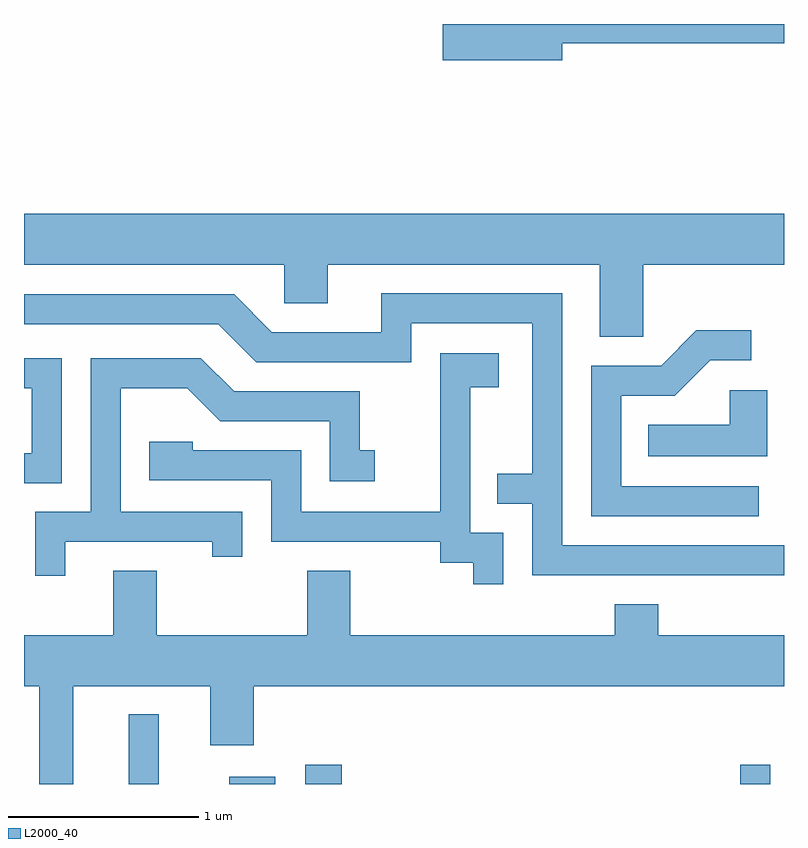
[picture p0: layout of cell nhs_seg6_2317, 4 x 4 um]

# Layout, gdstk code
import gdstk
lib = gdstk.Library(unit=1e-6, precision=1e-09)
def R(c, l, rs):  # rectangles x0, y0, x1, y1
    for r in rs: c.add(gdstk.rectangle(r[:2], r[2:], *l))
def P(c, l, *ps):  # polygons
    for p in ps: c.add(gdstk.Polygon(p, *l))
L2000_40 = (2000, 40)

nhs_seg6_2317 = lib.new_cell('nhs_seg6_2317')
R(nhs_seg6_2317, L2000_40, [(256.161,1576.162,256.319,1576.528), (256.691,1576.162,256.934,1576.199), (257.091,1576.162,257.284,1576.264), (259.381,1576.162,259.539,1576.263)])
P(nhs_seg6_2317, L2000_40, [(258.444,1580.061),(259.611,1580.061),(259.611,1580.162),(257.816,1580.162),(257.816,1579.971),(258.444,1579.971)],
  [(258.869,1578.896),(259.611,1578.896),(259.611,1579.164),(255.611,1579.164),(255.611,1578.896),(256.981,1578.896),(256.981,1578.691),(257.209,1578.691),(257.209,1578.896),(258.641,1578.896),(258.641,1578.516),(258.869,1578.516)],
  [(259.611,1577.419),(258.444,1577.419),(258.444,1578.744),(257.491,1578.744),(257.491,1578.539),(256.916,1578.539),(256.717,1578.739),(255.611,1578.739),(255.611,1578.581),(256.634,1578.581),(256.834,1578.381),(257.649,1578.381),(257.649,1578.586),(258.286,1578.586),(258.286,1577.794),(258.103,1577.794),(258.103,1577.636),(258.286,1577.636),(258.286,1577.261),(259.611,1577.261)],
  [(259.478,1577.729),(258.754,1577.729),(258.754,1578.206),(259.037,1578.206),(259.222,1578.391),(259.438,1578.391),(259.438,1578.549),(259.149,1578.549),(258.964,1578.364),(258.596,1578.364),(258.596,1577.571),(259.478,1577.571)],
  [(258.134,1577.484),(257.959,1577.484),(257.959,1578.251),(258.109,1578.251),(258.109,1578.429),(257.801,1578.429),(257.801,1577.594),(257.069,1577.594),(257.069,1577.919),(256.499,1577.919),(256.499,1577.964),(256.271,1577.964),(256.271,1577.761),(256.911,1577.761),(256.911,1577.436),(257.801,1577.436),(257.801,1577.326),(257.976,1577.326),(257.976,1577.213),(258.134,1577.213)],
  [(255.829,1577.436),(256.601,1577.436),(256.601,1577.358),(256.759,1577.358),(256.759,1577.594),(256.119,1577.594),(256.119,1578.246),(256.469,1578.246),(256.644,1578.071),(257.221,1578.071),(257.221,1577.756),(257.457,1577.756),(257.457,1577.919),(257.379,1577.919),(257.379,1578.229),(256.717,1578.229),(256.541,1578.404),(255.961,1578.404),(255.961,1577.594),(255.671,1577.594),(255.671,1577.258),(255.829,1577.258)],
  [(255.809,1578.404),(255.611,1578.404),(255.611,1578.246),(255.651,1578.246),(255.651,1577.904),(255.611,1577.904),(255.611,1577.746),(255.809,1577.746)],
  [(259.524,1578.234),(259.326,1578.234),(259.326,1578.054),(258.897,1578.054),(258.897,1577.886),(259.524,1577.886)],
  [(255.869,1576.676),(256.591,1576.676),(256.591,1576.366),(256.819,1576.366),(256.819,1576.676),(259.611,1576.676),(259.611,1576.944),(258.949,1576.944),(258.949,1577.109),(258.721,1577.109),(258.721,1576.944),(257.329,1576.944),(257.329,1577.284),(257.101,1577.284),(257.101,1576.944),(256.309,1576.944),(256.309,1577.284),(256.081,1577.284),(256.081,1576.944),(255.611,1576.944),(255.611,1576.676),(255.691,1576.676),(255.691,1576.162),(255.869,1576.162)])

lib.write_gds('nhs_seg6_2317.gds')
